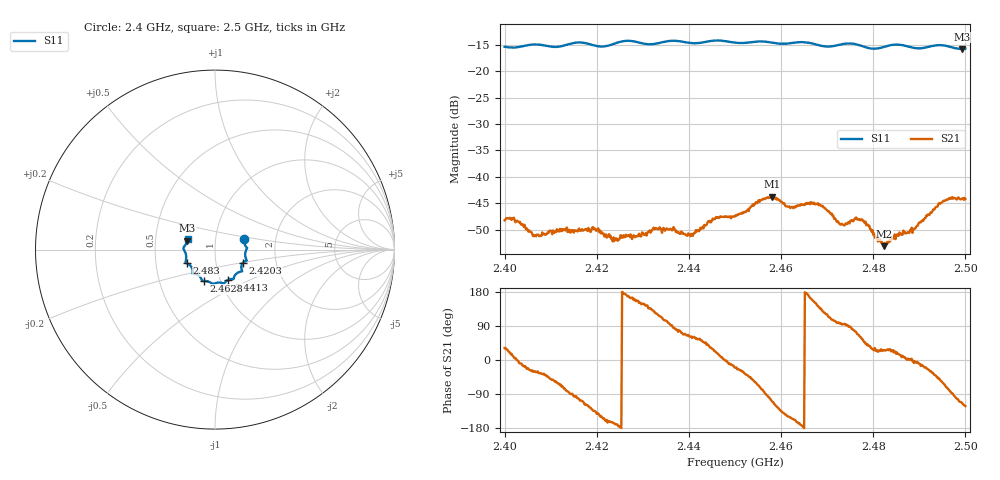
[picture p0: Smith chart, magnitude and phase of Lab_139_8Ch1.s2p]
# Hz S RI R 50
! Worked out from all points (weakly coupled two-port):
!   601 points, 2.4 GHz to 2.5 GHz, reference 50 ohm
!   highest |S21| = -43.75 dB at 2.458 GHz (marker M1); lowest = -53.1 dB at 2.4823 GHz (marker M2)
!   lowest |S11| = -15.8 dB at 2.4993 GHz (marker M3), VSWR 1.39, Z = 36.5 + j3.72 ohm
!   |S11| at or under -10 dB: start of sweep to end of sweep
!   S12 and S22 are empty: the file has one direction only
!   S11 on the Smith chart (normalised r, x): 2.4 GHz: 1.37, +0.16; 2.4203 GHz: 1.35, -0.21; 2.4413 GHz: 1.09, -0.38; 2.4628 GHz: 0.83, -0.30; 2.483 GHz: 0.72, -0.11; 2.5 GHz: 0.73, +0.09
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2.4e9  0.1604 0.057  0.00332 0.00202  0 0  0 0
2.402167e9  0.1638 0.0334  0.00391 0.000311  0 0  0 0
2.406667e9  0.1786 0.0085  0.00241 -0.00144  0 0  0 0
2.416667e9  0.176 -0.0617  -0.000945 -0.00302  0 0  0 0
2.420333e9  0.155 -0.0738  -0.00258 -0.002  0 0  0 0
2.424333e9  0.1489 -0.1107  -0.00257 -0.000475  0 0  0 0
2.433333e9  0.1081 -0.1485  -0.00154 0.0028  0 0  0 0
2.441333e9  0.0744 -0.1679  0.00156 0.00253  0 0  0 0
2.445667e9  0.0508 -0.188  0.00367 0.00158  0 0  0 0
2.45e9  0.0294 -0.1838  0.00397 -0.00144  0 0  0 0
2.458e9  -0.0225 -0.1848  -0.00204 -0.00617  0 0  0 0
2.462833e9  -0.063 -0.1748  -0.00479 -0.00196  0 0  0 0
2.466667e9  -0.0743 -0.1674  -0.00538 0.00199  0 0  0 0
2.473167e9  -0.1193 -0.1345  -0.000249 0.0036  0 0  0 0
2.477833e9  -0.1244 -0.1178  0.00242 0.00302  0 0  0 0
2.482333e9  -0.15 -0.0793  0.00199 0.000963  0 0  0 0
2.483e9  -0.1551 -0.0767  0.00217 0.00108  0 0  0 0
2.483333e9  -0.1571 -0.0755  0.00222 0.00108  0 0  0 0
2.489e9  -0.1604 -0.0407  0.00323 -0.000174  0 0  0 0
2.494667e9  -0.1759 0.00925  0.00325 -0.00464  0 0  0 0
2.499333e9  -0.1543 0.0497  -0.00258 -0.00564  0 0  0 0
2.5e9  -0.1527 0.0587  -0.00326 -0.00527  0 0  0 0
